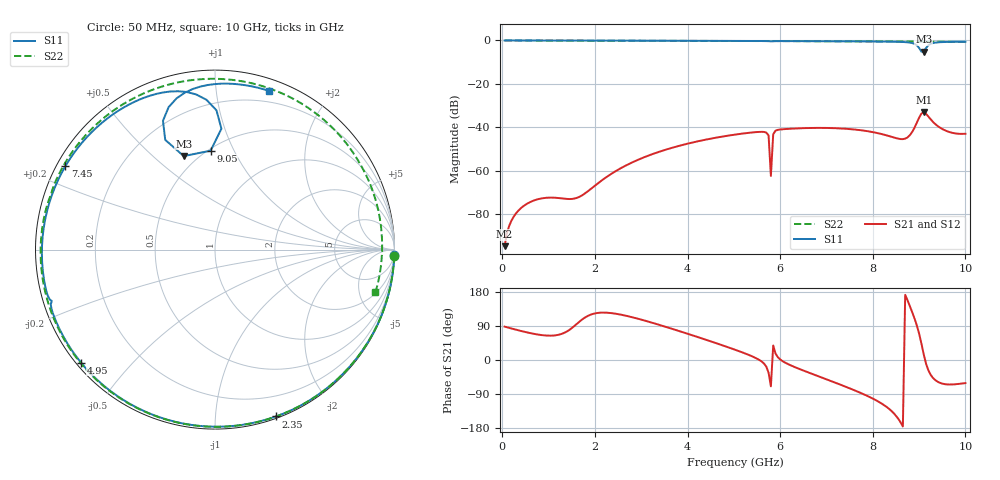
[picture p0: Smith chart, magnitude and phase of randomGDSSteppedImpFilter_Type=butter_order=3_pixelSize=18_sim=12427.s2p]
! freq	dB(S11)	phase(S11)	dB(S12)	phase(S12)
!  dB(S21)	phase(S21)	dB(S22)	phase(S22)
!S-par simulation data
#  GHz  S  DB  R 50
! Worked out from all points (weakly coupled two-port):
!   200 points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, 50 MHz to 10 GHz, reference 50 ohm
!   highest |S21| = -33.13 dB at 9.1 GHz (marker M1); lowest = -94.8 dB at 50 MHz (marker M2)
!   lowest |S11| = -5.2 dB at 9.1 GHz (marker M3), VSWR 3.44, Z = 21.2 + j31.6 ohm
!   |S11| at or under -10 dB: nowhere
!   |S22| runs from -0.7 to 0.0 dB; largest |S21 - S12| = 0
!   S11 on the Smith chart (normalised r, x): 50 MHz: 1, -73; 2.35 GHz: 0.02, -1.43; 4.95 GHz: 0.01, -0.36; 7.45 GHz: 0.02, +0.26; 9.05 GHz: 0.51, +0.81; 10 GHz: 0.10, +1.39
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0.05  -0.00 -1.6  -94.82 88.1  -94.82 88.1  -0.01 -2.0
0.8  -0.03 -24.5  -73.02 66.5  -73.02 66.5  -0.04 -30.9
1.75  -0.07 -52.7  -71.03 109.1  -71.03 109.1  -0.08 -65.9
2.35  -0.09 -69.9  -61.54 123.8  -61.54 123.8  -0.11 -86.9
3.4  -0.13 -98.9  -51.23 92.4  -51.23 92.4  -0.15 -121.6
4.95  -0.21 -139.9  -43.63 30.4  -43.63 30.4  -0.23 -170.7
5.05  -0.21 -142.5  -43.32 26.1  -43.32 26.1  -0.24 -173.9
5.7  -0.27 -160.0  -42.45 -17.2  -42.45 -17.2  -0.29 164.8
5.75  -0.31 -161.5  -43.77 -33.4  -43.77 -33.4  -0.30 163.1
5.8  -0.42 -162.5  -62.44 -69.6  -62.44 -69.6  -0.32 161.6
5.85  -0.34 -163.2  -43.23 38.3  -43.23 38.3  -0.30 160.0
5.9  -0.30 -164.6  -41.58 16.9  -41.58 16.9  -0.30 158.2
6.7  -0.34 172.9  -40.33 -37.1  -40.33 -37.1  -0.35 129.7
7.45  -0.41 150.8  -40.76 -72.2  -40.76 -72.2  -0.41 100.4
8.35  -0.54 120.7  -44.06 -128.7  -44.06 -128.7  -0.48 61.5
8.75  -0.86 103.1  -44.69 157.8  -44.69 157.8  -0.52 43.3
8.9  -1.55 93.3  -40.27 109.9  -40.27 109.9  -0.53 36.3
9.05  -5.17 92.5  -33.75 43.7  -33.75 43.7  -0.55 29.4
9.1  -5.20 108.5  -33.13 14.9  -33.13 14.9  -0.55 27.0
9.2  -2.23 112.0  -35.10 -27.1  -35.10 -27.1  -0.56 22.3
9.4  -0.88 97.9  -39.43 -57.3  -39.43 -57.3  -0.58 12.9
10  -0.59 71.2  -43.02 -60.9  -43.02 -60.9  -0.68 -14.9
